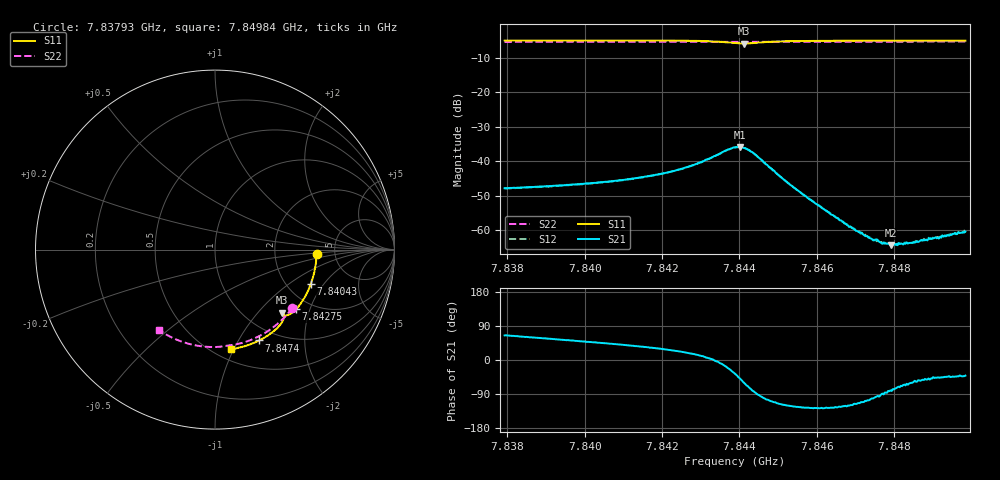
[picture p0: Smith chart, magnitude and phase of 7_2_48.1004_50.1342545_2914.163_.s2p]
#  HZ  S  RI  R  50.00
! Rohde & Schwarz Vector Network Analyzer
! Rohde-Schwarz,ZNB20-2Port,1311601062101988,3.16
! Created: UTC 12/23/2023, 3:35:17 AM
! freq[Hz]  re:S11  im:S11  re:S21  im:S21  re:S12  im:S12  re:S22  im:S22
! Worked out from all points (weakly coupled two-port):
!   401 points, 7.83793 GHz to 7.84984 GHz, reference 50 ohm
!   highest |S21| = -35.84 dB at 7.844 GHz (marker M1); lowest = -64.4 dB at 7.84791 GHz (marker M2)
!   lowest |S11| = -5.8 dB at 7.84412 GHz (marker M3), VSWR 3.09, Z = 71.3 - j67.8 ohm
!   |S11| at or under -10 dB: nowhere
!   |S22| runs from -5.4 to -5.3 dB; largest |S21 - S12| = 0.00045
!   S11 on the Smith chart (normalised r, x): 7.83793 GHz: 3.59, -0.29; 7.84043 GHz: 2.67, -1.51; 7.84275 GHz: 1.67, -1.62; 7.8474 GHz: 0.83, -1.23; 7.84984 GHz: 0.60, -0.98
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7.837926e9  0.5661 -0.0271  0.00173 0.00368  0.0017 0.00365  0.4315 -0.3249
7.839922e9  0.5446 -0.1585  0.00308 0.00355  0.00303 0.0035  0.3342 -0.4252
7.840429e9  0.534 -0.1909  0.00351 0.00351  0.00346 0.00349  0.3057 -0.4463
7.841233e9  0.5125 -0.2415  0.00445 0.00344  0.00439 0.00341  0.2577 -0.4759
7.841918e9  0.4892 -0.2835  0.00563 0.00329  0.00555 0.00326  0.2146 -0.4973
7.842752e9  0.452 -0.3327  0.00823 0.00253  0.0082 0.00257  0.1594 -0.5175
7.843437e9  0.4062 -0.3647  0.0124 -0.000978  0.0125 -0.00109  0.1124 -0.5289
7.843884e9  0.3727 -0.3612  0.0128 -0.00946  0.0128 -0.00934  0.0825 -0.5328
7.844003e9  0.3698 -0.3554  0.0108 -0.012  0.0107 -0.0118  0.0752 -0.5337
7.844122e9  0.3717 -0.3511  0.00766 -0.0136  0.00771 -0.0135  0.0678 -0.5346
7.84439e9  0.3822 -0.3559  0.00111 -0.0127  0.00118 -0.0128  0.0505 -0.5379
7.845135e9  0.3714 -0.408  -0.0026 -0.00484  -0.00257 -0.00482  -0.0014 -0.5429
7.84588e9  0.3344 -0.4484  -0.00159 -0.00213  -0.0016 -0.00213  -0.0542 -0.541
7.846773e9  0.2836 -0.4854  -0.000643 -0.00101  -0.000624 -0.00106  -0.1162 -0.5318
7.847399e9  0.2462 -0.506  -0.000166 -0.000741  -0.000161 -0.000753  -0.159 -0.5212
7.847697e9  0.2279 -0.5145  1.61e-05 -0.000633  8.18e-06 -0.000656  -0.1789 -0.5148
7.847876e9  0.217 -0.5195  8.17e-05 -0.000615  7.97e-05 -0.000653  -0.1908 -0.5107
7.847905e9  0.2151 -0.5204  0.000104 -0.000592  0.000109 -0.000601  -0.1927 -0.5099
7.848025e9  0.2077 -0.5233  0.000154 -0.000593  0.000144 -0.000613  -0.2006 -0.5069
7.848501e9  0.1777 -0.5344  0.000359 -0.000567  0.000327 -0.000571  -0.2312 -0.4939
7.848829e9  0.1568 -0.5408  0.000452 -0.000576  0.000498 -0.000569  -0.252 -0.4839
7.849842e9  0.0908 -0.5554  0.000719 -0.000628  0.00069 -0.000616  -0.3131 -0.4476
